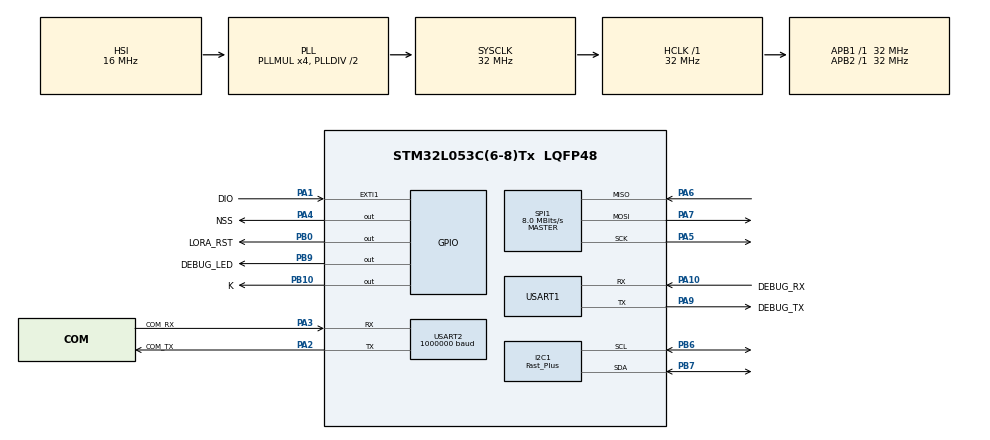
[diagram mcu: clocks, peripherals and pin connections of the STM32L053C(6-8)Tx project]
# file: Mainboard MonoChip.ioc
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I2C1.I2C_Speed_Mode=I2C_Fast_Plus
I2C1.Timing=0x00100413
Mcu.Family=STM32L0
Mcu.Name=STM32L053C(6-8)Tx
Mcu.Package=LQFP48
NVIC.EXTI0_1_IRQn=true\:0\:0\:false\:false\:true\:true\:true\:true
NVIC.USART1_IRQn=true\:0\:0\:false\:false\:true\:true\:true\:true
NVIC.USART2_IRQn=true\:0\:0\:false\:false\:true\:true\:true\:true
PA1.GPIO_Label=DIO
PA1.Signal=GPXTI1
PA10.GPIO_Label=DEBUG_RX
PA10.Mode=Asynchronous
PA10.Signal=USART1_RX
PA13.Mode=Serial_Wire
PA13.Signal=SYS_SWDIO
PA14.Mode=Serial_Wire
PA14.Signal=SYS_SWCLK
PA2.GPIO_Label=COM_TX
PA2.Mode=Asynchronous
PA2.Signal=USART2_TX
PA3.GPIO_Label=COM_RX
PA3.Mode=Asynchronous
PA3.Signal=USART2_RX
PA4.GPIO_Label=NSS
PA4.PinState=GPIO_PIN_SET
PA4.Signal=GPIO_Output
PA5.Mode=Full_Duplex_Master
PA5.Signal=SPI1_SCK
PA6.Mode=Full_Duplex_Master
PA6.Signal=SPI1_MISO
PA7.Mode=Full_Duplex_Master
PA7.Signal=SPI1_MOSI
PA9.GPIO_Label=DEBUG_TX
PA9.Mode=Asynchronous
PA9.Signal=USART1_TX
PB0.GPIO_Label=LORA_RST
PB0.PinState=GPIO_PIN_SET
PB0.Signal=GPIO_Output
PB10.GPIO_Label=K
PB10.Signal=GPIO_Output
PB6.Mode=I2C
PB6.Signal=I2C1_SCL
PB7.Mode=I2C
PB7.Signal=I2C1_SDA
PB9.GPIO_Label=DEBUG_LED
PB9.Signal=GPIO_Output
PH0-OSC_IN.Mode=HSE-External-Oscillator
PH0-OSC_IN.Signal=RCC_OSC_IN
PH1-OSC_OUT.Mode=HSE-External-Oscillator
PH1-OSC_OUT.Signal=RCC_OSC_OUT
ProjectManager.HeapSize=0x200
ProjectManager.StackSize=0x400
ProjectManager.TargetToolchain=STM32CubeIDE
RCC.AHBFreq_Value=32000000
RCC.APB1Freq_Value=32000000
RCC.APB1TimFreq_Value=32000000
RCC.APB2Freq_Value=32000000
RCC.APB2TimFreq_Value=32000000
RCC.HCLKFreq_Value=32000000
RCC.HSE_VALUE=25000000
RCC.HSI16_VALUE=16000000
RCC.HSI48_VALUE=48000000
RCC.HSI_VALUE=16000000
RCC.I2c1ClockSelection=RCC_I2C1CLKSOURCE_SYSCLK
RCC.LSE_VALUE=32768
RCC.MSI_VALUE=2097000
RCC.PLLMUL=RCC_PLLMUL_4
RCC.SYSCLKFreq_VALUE=32000000
RCC.SYSCLKSource=RCC_SYSCLKSOURCE_PLLCLK
RCC.Usart1ClockSelection=RCC_USART1CLKSOURCE_SYSCLK
RCC.Usart2ClockSelection=RCC_USART2CLKSOURCE_SYSCLK
RCC.VCOOutputFreq_Value=64000000
SPI1.BaudRatePrescaler=SPI_BAUDRATEPRESCALER_4
SPI1.CalculateBaudRate=8.0 MBits/s
SPI1.Direction=SPI_DIRECTION_2LINES
SPI1.Mode=SPI_MODE_MASTER
SPI1.VirtualType=VM_MASTER
USART1.VirtualMode-Asynchronous=VM_ASYNC
USART2.BaudRate=1000000
USART2.VirtualMode-Asynchronous=VM_ASYNC
VP_IWDG_VS_IWDG.Mode=IWDG_Activate
board=custom

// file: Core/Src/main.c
/* USER CODE BEGIN Header */
/**
 ******************************************************************************
 * @file           : main.c
 * @brief          : Main program body
 ******************************************************************************
 * @attention
 *
 * Copyright (c) 2024 STMicroelectronics.
 * All rights reserved.
 *
 * This software is licensed under terms that can be found in the LICENSE file
 * in the root directory of this software component.
 * If no LICENSE file comes with this software, it is provided AS-IS.
 *
 ******************************************************************************
 */
/* USER CODE END Header */
#include "main.h"

/* USER CODE BEGIN Includes */
#include "math.h"
#include "string.h"
#include "stdio.h"
#include <stdlib.h>
#include "LoRa.h"
#include "FRAM.h"
#include "BrasensFirmware.h"
#include <cJSON.h>
/* USER CODE END Includes */

/* USER CODE BEGIN PD */
typedef struct {
	float x;
	float y;
	float z;
} Vibration;

typedef struct {
	uint8_t rxBuffer[60];
	char type;
} LoRa_Data;

/* USER CODE END PD */

I2C_HandleTypeDef hi2c1;

IWDG_HandleTypeDef hiwdg;

SPI_HandleTypeDef hspi1;

UART_HandleTypeDef huart1;
UART_HandleTypeDef huart2;

void SystemClock_Config(void);
static void MX_GPIO_Init(void);
static void MX_I2C1_Init(void);
static void MX_SPI1_Init(void);
static void MX_USART1_UART_Init(void);
static void MX_USART2_UART_Init(void);
static void MX_IWDG_Init(void);
/* USER CODE BEGIN PFP */
#define COM_PRINT(msg) HAL_UART_Transmit(&huart2, (uint8_t*)msg, strlen(msg), 200)

void setup(void);
void loop(void);
void BlinkLed(void);
void sendReady(void);
void GSM_RX_Callback(void);
void GSM_TX_Callback(void);
void MSP_RX_Callback(void);
void MSP_TX_Callback(void);
void CHAR_NOT_FOUND_EXCEPTION(void);
void BEHAVIOR_Initialize_DataIndices(uint16_t size);
char BEHAVIOR_GET_Next_Send_Item(void);
void BEHAVIOR_ADD_Item_To_DataIndices(char item);
void BEHAVIOR_REMOVE_First_Item_From_DataIndices(void);
uint16_t BEHAVIOR_Send_Next_Struct_In_FRAM(char next);
void BEHAVIOR_Reorganize_FRAM(void);
cJSON* transmission_data_to_json(const Transmission_Data *data);
cJSON* transmission_vibrationpackage_to_json(
		const Transmission_VibrationPackage *vibrationPackage);
char* GSM_Send_HTTP_POST(char *json);
void GSM_PDP_Context_Activate(char *apn, char *user, char *pwd);
uint8_t GSM_Disconnect_TCP(void);

#define DEBUG_PRINT(msg) HAL_UART_Transmit(&huart1, (uint8_t*)(msg), strlen(msg), 100)

LoRa myLoRa;

#define LORA_DATA_BUFFER_SIZE 8
volatile LoRa_Data LoRa_Data_transient_buffer[LORA_DATA_BUFFER_SIZE];
uint8_t total_LoRa_Data_registred = 0;

uint8_t packet_size = 0;
uint8_t lora_recived_package = 0;

#define LORA_RING_SIZE 16 /* 16 x 61 B ~ 1 KB; cabe com folga apos remover o buffer NACK (M8) */
volatile LoRa_Data lora_ring[LORA_RING_SIZE];
volatile uint8_t lora_ring_head = 0; /* escrito APENAS pelo ISR  */
volatile uint8_t lora_ring_tail = 0; /* escrito APENAS pelo loop */

uint8_t rxBuffer[120];
Transmission_Data data;
Transmission_VibrationPackage vibrationPackage;
FRAM_Metadata metadata;

char apn[] = "timbrasil.br";
char user[] = "tim";
char pwd[] = "tim";

/* BEHAVIOR */
#define MAX_DATA_INDICES 300

char dataIndices[MAX_DATA_INDICES];
uint16_t dataIndicesSize = 0;
uint16_t reorganizeStartAddress = 0;
typedef enum {
	FREE_STATUS = 0, RECEIVING = 1
} MSPStatus;

uint8_t MSP_RX_Buffer[500];
uint8_t MSP_RX_Stream_Data = 0;
int MSP_Stream_Index = 0;
uint32_t lastMSPRxTick = 0;
MSPStatus mspStatus = FREE_STATUS;

const uint32_t MSP_TIMEOUT = 10 * 1000;
const uint32_t GSM_TIMEOUT = 15 * 1000;
const uint32_t LED_BLINK_DURATION_MS = 150;
const uint32_t SEND_ATTEMPT_INTERVAL_MS = 500;
const uint32_t READ_SERIAL_INTERVAL_MS = 20;
const uint32_t SEND_AT_INTERVAL_MS = 50;

volatile uint32_t last_read_serial_timestamp = 0;
volatile uint32_t last_send_at_timestamp = 0;

volatile int led_is_on = 0;
volatile uint32_t led_on_timestamp = 0;

uint32_t last_send_attempt_timestamp = 0;
/* BEHAVIOR */

/* GSM */
typedef enum {
	//STARTING
	FREE = 0,
	WAITING = 1,
	RX = 2,
	PROCESSING = 3,
} GSMStatus;

uint8_t GSM_RX_Buffer[500];
uint8_t GSM_RX_Stream_Data = 0;
int GSM_Stream_Index = 0;

uint32_t lastRxTick = 0;

GSMStatus gsmStatus = FREE;
/* GSM */

int started = 0;

const char server[] = "ec2-35-88-115-76.us-west-2.compute.amazonaws.com";
const uint16_t port = 8080;
const char resource[] = "/data/register";

/* USER CODE END PFP */

int main(void)
{

  /* MCU Configuration--------------------------------------------------------*/

  /* Reset of all peripherals, Initializes the Flash interface and the Systick. */
  HAL_Init();

  /* Configure the system clock */
  SystemClock_Config();

  /* Initialize all configured peripherals */
  MX_GPIO_Init();
  MX_I2C1_Init();
  MX_SPI1_Init();
  MX_USART1_UART_Init();
  MX_USART2_UART_Init();
  MX_IWDG_Init();
  /* USER CODE BEGIN 2 */
	setup();
  /* USER CODE END 2 */

  /* Infinite loop */
  /* USER CODE BEGIN WHILE */
	while (1) {
		loop();
    /* USER CODE END WHILE */

	}
}

void SystemClock_Config(void)
{
  RCC_OscInitTypeDef RCC_OscInitStruct = {0};
  RCC_ClkInitTypeDef RCC_ClkInitStruct = {0};
  RCC_PeriphCLKInitTypeDef PeriphClkInit = {0};

  /** Configure the main internal regulator output voltage
  */
  __HAL_PWR_VOLTAGESCALING_CONFIG(PWR_REGULATOR_VOLTAGE_SCALE1);

  /** Initializes the RCC Oscillators according to the specified parameters
  * in the RCC_OscInitTypeDef structure.
  */
  RCC_OscInitStruct.OscillatorType = RCC_OSCILLATORTYPE_HSI|RCC_OSCILLATORTYPE_LSI;
  RCC_OscInitStruct.HSIState = RCC_HSI_ON;
  RCC_OscInitStruct.HSICalibrationValue = RCC_HSICALIBRATION_DEFAULT;
  RCC_OscInitStruct.LSIState = RCC_LSI_ON;
  RCC_OscInitStruct.PLL.PLLState = RCC_PLL_ON;
  RCC_OscInitStruct.PLL.PLLSource = RCC_PLLSOURCE_HSI;
  RCC_OscInitStruct.PLL.PLLMUL = RCC_PLLMUL_4;
  RCC_OscInitStruct.PLL.PLLDIV = RCC_PLLDIV_2;
  if (HAL_RCC_OscConfig(&RCC_OscInitStruct) != HAL_OK)
  {
    Error_Handler();
  }

  /** Initializes the CPU, AHB and APB buses clocks
  */
  RCC_ClkInitStruct.ClockType = RCC_CLOCKTYPE_HCLK|RCC_CLOCKTYPE_SYSCLK
                              |RCC_CLOCKTYPE_PCLK1|RCC_CLOCKTYPE_PCLK2;
  RCC_ClkInitStruct.SYSCLKSource = RCC_SYSCLKSOURCE_PLLCLK;
  RCC_ClkInitStruct.AHBCLKDivider = RCC_SYSCLK_DIV1;
  RCC_ClkInitStruct.APB1CLKDivider = RCC_HCLK_DIV1;
  RCC_ClkInitStruct.APB2CLKDivider = RCC_HCLK_DIV1;

  if (HAL_RCC_ClockConfig(&RCC_ClkInitStruct, FLASH_LATENCY_1) != HAL_OK)
  {
    Error_Handler();
  }
  PeriphClkInit.PeriphClockSelection = RCC_PERIPHCLK_USART1|RCC_PERIPHCLK_USART2
                              |RCC_PERIPHCLK_I2C1;
  PeriphClkInit.Usart1ClockSelection = RCC_USART1CLKSOURCE_SYSCLK;
  PeriphClkInit.Usart2ClockSelection = RCC_USART2CLKSOURCE_SYSCLK;
  PeriphClkInit.I2c1ClockSelection = RCC_I2C1CLKSOURCE_SYSCLK;
  if (HAL_RCCEx_PeriphCLKConfig(&PeriphClkInit) != HAL_OK)
  {
    Error_Handler();
  }
}

static void MX_I2C1_Init(void)
{

  hi2c1.Instance = I2C1;
  hi2c1.Init.Timing = 0x00100413;
  hi2c1.Init.OwnAddress1 = 0;
  hi2c1.Init.AddressingMode = I2C_ADDRESSINGMODE_7BIT;
  hi2c1.Init.DualAddressMode = I2C_DUALADDRESS_DISABLE;
  hi2c1.Init.OwnAddress2 = 0;
  hi2c1.Init.OwnAddress2Masks = I2C_OA2_NOMASK;
  hi2c1.Init.GeneralCallMode = I2C_GENERALCALL_DISABLE;
  hi2c1.Init.NoStretchMode = I2C_NOSTRETCH_DISABLE;
  if (HAL_I2C_Init(&hi2c1) != HAL_OK)
  {
    Error_Handler();
  }

  /** Configure Analogue filter
  */
  if (HAL_I2CEx_ConfigAnalogFilter(&hi2c1, I2C_ANALOGFILTER_ENABLE) != HAL_OK)
  {
    Error_Handler();
  }

  /** Configure Digital filter
  */
  if (HAL_I2CEx_ConfigDigitalFilter(&hi2c1, 0) != HAL_OK)
  {
    Error_Handler();
  }

  /** I2C Fast mode Plus enable
  */
  HAL_I2CEx_EnableFastModePlus(I2C_FASTMODEPLUS_I2C1);

}

static void MX_IWDG_Init(void)
{

	  hiwdg.Instance = IWDG;
	  hiwdg.Init.Prescaler = IWDG_PRESCALER_256;
	  hiwdg.Init.Window = 4095;
	  hiwdg.Init.Reload = 4095;
  if (HAL_IWDG_Init(&hiwdg) != HAL_OK)
  {
    Error_Handler();
  }

}

static void MX_SPI1_Init(void)
{

  /* SPI1 parameter configuration*/
  hspi1.Instance = SPI1;
  hspi1.Init.Mode = SPI_MODE_MASTER;
  hspi1.Init.Direction = SPI_DIRECTION_2LINES;
  hspi1.Init.DataSize = SPI_DATASIZE_8BIT;
  hspi1.Init.CLKPolarity = SPI_POLARITY_LOW;
  hspi1.Init.CLKPhase = SPI_PHASE_1EDGE;
  hspi1.Init.NSS = SPI_NSS_SOFT;
  hspi1.Init.BaudRatePrescaler = SPI_BAUDRATEPRESCALER_4;
  hspi1.Init.FirstBit = SPI_FIRSTBIT_MSB;
  hspi1.Init.TIMode = SPI_TIMODE_DISABLE;
  hspi1.Init.CRCCalculation = SPI_CRCCALCULATION_DISABLE;
  hspi1.Init.CRCPolynomial = 7;
  if (HAL_SPI_Init(&hspi1) != HAL_OK)
  {
    Error_Handler();
  }

}

static void MX_USART1_UART_Init(void)
{

  huart1.Instance = USART1;
  huart1.Init.BaudRate = 115200;
  huart1.Init.WordLength = UART_WORDLENGTH_8B;
  huart1.Init.StopBits = UART_STOPBITS_1;
  huart1.Init.Parity = UART_PARITY_NONE;
  huart1.Init.Mode = UART_MODE_TX_RX;
  huart1.Init.HwFlowCtl = UART_HWCONTROL_NONE;
  huart1.Init.OverSampling = UART_OVERSAMPLING_16;
  huart1.Init.OneBitSampling = UART_ONE_BIT_SAMPLE_DISABLE;
  huart1.AdvancedInit.AdvFeatureInit = UART_ADVFEATURE_NO_INIT;
  if (HAL_UART_Init(&huart1) != HAL_OK)
  {
    Error_Handler();
  }

}

static void MX_USART2_UART_Init(void)
{

  huart2.Instance = USART2;
  huart2.Init.BaudRate = 1000000;
  huart2.Init.WordLength = UART_WORDLENGTH_8B;
  huart2.Init.StopBits = UART_STOPBITS_1;
  huart2.Init.Parity = UART_PARITY_NONE;
  huart2.Init.Mode = UART_MODE_TX_RX;
  huart2.Init.HwFlowCtl = UART_HWCONTROL_NONE;
  huart2.Init.OverSampling = UART_OVERSAMPLING_16;
  huart2.Init.OneBitSampling = UART_ONE_BIT_SAMPLE_DISABLE;
  huart2.AdvancedInit.AdvFeatureInit = UART_ADVFEATURE_NO_INIT;
  if (HAL_UART_Init(&huart2) != HAL_OK)
  {
    Error_Handler();
  }

}

static void MX_GPIO_Init(void)
{
  GPIO_InitTypeDef GPIO_InitStruct = {0};

  /* GPIO Ports Clock Enable */
  __HAL_RCC_GPIOH_CLK_ENABLE();
  __HAL_RCC_GPIOA_CLK_ENABLE();
  __HAL_RCC_GPIOB_CLK_ENABLE();

  /*Configure GPIO pin Output Level */
  HAL_GPIO_WritePin(NSS_GPIO_Port, NSS_Pin, GPIO_PIN_SET);

  /*Configure GPIO pin Output Level */
  HAL_GPIO_WritePin(LORA_RST_GPIO_Port, LORA_RST_Pin, GPIO_PIN_SET);

  /*Configure GPIO pin Output Level */
  HAL_GPIO_WritePin(GPIOB, K_Pin|DEBUG_LED_Pin, GPIO_PIN_RESET);

  /*Configure GPIO pin : DIO_Pin */
  GPIO_InitStruct.Pin = DIO_Pin;
  GPIO_InitStruct.Mode = GPIO_MODE_IT_RISING;
  GPIO_InitStruct.Pull = GPIO_NOPULL;
  HAL_GPIO_Init(DIO_GPIO_Port, &GPIO_InitStruct);

  /*Configure GPIO pin : NSS_Pin */
  GPIO_InitStruct.Pin = NSS_Pin;
  GPIO_InitStruct.Mode = GPIO_MODE_OUTPUT_PP;
  GPIO_InitStruct.Pull = GPIO_NOPULL;
  GPIO_InitStruct.Speed = GPIO_SPEED_FREQ_LOW;
  HAL_GPIO_Init(NSS_GPIO_Port, &GPIO_InitStruct);

  /*Configure GPIO pins : LORA_RST_Pin K_Pin DEBUG_LED_Pin */
  GPIO_InitStruct.Pin = LORA_RST_Pin|K_Pin|DEBUG_LED_Pin;
  GPIO_InitStruct.Mode = GPIO_MODE_OUTPUT_PP;
  GPIO_InitStruct.Pull = GPIO_NOPULL;
  GPIO_InitStruct.Speed = GPIO_SPEED_FREQ_LOW;
  HAL_GPIO_Init(GPIOB, &GPIO_InitStruct);

  /* EXTI interrupt init*/
  HAL_NVIC_SetPriority(EXTI0_1_IRQn, 0, 0);
  HAL_NVIC_EnableIRQ(EXTI0_1_IRQn);

}

/* USER CODE BEGIN 4 */

void I2C_Scan() {
	char msg[64];
	HAL_StatusTypeDef result;
	uint8_t i;

	DEBUG_PRINT("Scanning I2C bus:\r\n");

	for (i = 1; i < 128; i++) {

		result = HAL_I2C_IsDeviceReady(&hi2c1, (uint16_t) (i << 1), 1, 10);
		if (result == HAL_OK) {
			snprintf(msg, sizeof(msg), "Device found at 0x%02X\r\n", i);
			DEBUG_PRINT(msg);
		} else {

		}
	}
	DEBUG_PRINT("I2C scan completed.\r\n");
}

void INIT_GSM_K() {
	HAL_GPIO_WritePin(K_GPIO_Port, K_Pin, GPIO_PIN_RESET);
	HAL_Delay(100);
	HAL_GPIO_WritePin(K_GPIO_Port, K_Pin, GPIO_PIN_SET);
	HAL_Delay(1000);
	HAL_GPIO_WritePin(K_GPIO_Port, K_Pin, GPIO_PIN_RESET);
}

void setup() {
	DEBUG_PRINT("Starting...\r\n");

	// SX1276 compatible module connected to SPI1, NSS pin connected to GPIO with label LORA_NSS
	myLoRa = newLoRa();

	myLoRa.CS_port = NSS_GPIO_Port;
	myLoRa.CS_pin = NSS_Pin;
	myLoRa.reset_port = LORA_RST_GPIO_Port;
	myLoRa.reset_pin = LORA_RST_Pin;
	myLoRa.DIO0_port = DIO_GPIO_Port;
	myLoRa.DIO0_pin = DIO_Pin;
	myLoRa.hSPIx = &hspi1;

	myLoRa.frequency = 915;
	myLoRa.spredingFactor = SF_7;
	myLoRa.bandWidth = BW_125KHz;
	myLoRa.crcRate = CR_4_5;
	myLoRa.power = POWER_20db;
	myLoRa.overCurrentProtection = 100;
	myLoRa.preamble = 8;

	if (LoRa_init(&myLoRa) == LORA_OK) {
		DEBUG_PRINT("LoRa Ready\r\n");
	} else
		DEBUG_PRINT("Error in LoRa connection\r\n");

	if (FRAM_Init(&hi2c1) != HAL_ERROR)
		DEBUG_PRINT("FRAM Ready\r\n");
	else
		DEBUG_PRINT("Error in FRAM connection\r\n");

	LoRa_startReceiving(&myLoRa);

	FRAM_Format(&hi2c1, &metadata);

	HAL_GPIO_WritePin(DEBUG_LED_GPIO_Port, DEBUG_LED_Pin, GPIO_PIN_SET);
	I2C_Scan();

	INIT_GSM_K();

	BEHAVIOR_Initialize_DataIndices(0);

	//sendAT("AT+CRESET\r\n", "OK");
	//sendAT("AT+HTTPTERM\r\n", "OK");
	HAL_Delay(2000);

	//sendAT("AT+CMEE=2\r\n", "OK");
	GSM_PDP_Context_Activate(apn, user, pwd);

	HAL_Delay(2000);
	HAL_GPIO_WritePin(DEBUG_LED_GPIO_Port, DEBUG_LED_Pin, GPIO_PIN_RESET);

	started = 1;
	DEBUG_PRINT("Started!\r\n");
}

void send_NACK(char *sensor_key) {

}

void format_LoRa_Data_buffer() {
	total_LoRa_Data_registred = 0;
	DEBUG_PRINT("Buffer de data formatado.\r\n");
}

void buffer_add_sample(LoRa_Data new_sample) {
	if (total_LoRa_Data_registred >= LORA_DATA_BUFFER_SIZE) {
		DEBUG_PRINT("ERRO: Buffer de vibração cheio!\r\n");
		return;
	}

	LoRa_Data_transient_buffer[total_LoRa_Data_registred] = new_sample;

	total_LoRa_Data_registred++;
}

void buffer_remove_sample(LoRa_Data *sample_out) {
	if (total_LoRa_Data_registred == 0) {
		return;
	}

	*sample_out = LoRa_Data_transient_buffer[0];

	total_LoRa_Data_registred--;

	if (total_LoRa_Data_registred > 0) {
		memmove((void*) &LoRa_Data_transient_buffer[0],
				(void*) &LoRa_Data_transient_buffer[1],
				total_LoRa_Data_registred * sizeof(LoRa_Data));
	}
}

uint8_t check_range_value(int value) {
	if (value > SAMPLES || value < 0)
		return 0;
	return 1;
}

void processing_data_in_FRAM(LoRa_Data lora_data) {
	if (lora_data.type == 'P') {
		Transmission_VibrationPackage receivedPackage;
		memcpy(&receivedPackage, lora_data.rxBuffer,
				sizeof(Transmission_VibrationPackage));

		char buffer[50];
		snprintf(buffer, sizeof(buffer), "Start: %d End: %d \r\n",
				receivedPackage.start, receivedPackage.end);
		DEBUG_PRINT(buffer);

		if (check_range_value(receivedPackage.start) == 1
				&& check_range_value(receivedPackage.end) == 1) {
			if (FRAM_WriteStruct(&hi2c1, &metadata, metadata.nextFreeAddress,
					&receivedPackage, sizeof(Transmission_VibrationPackage))
					== HAL_OK) {
				DEBUG_PRINT("\r\n");
				DEBUG_PRINT("VP Saved in FRAM\r\n");
				BEHAVIOR_ADD_Item_To_DataIndices('P');
			}
		} else {
			DEBUG_PRINT("\r\n");
			DEBUG_PRINT("Error in VP\r\n");
		}
	} else {
		Transmission_Data receivedData;
		memcpy(&receivedData, lora_data.rxBuffer, sizeof(Transmission_Data));
		if (FRAM_WriteStruct(&hi2c1, &metadata, metadata.nextFreeAddress,
				&receivedData, sizeof(Transmission_Data)) == HAL_OK) {
			DEBUG_PRINT("Data Saved in FRAM\r\n");
			BEHAVIOR_ADD_Item_To_DataIndices('D');
		}
	}
}

uint8_t nextScript = 0;
uint16_t resetCounter = 0;
void loop() {
	//char *vibrationJSON = generateTransmissionVibrationPackageJSON(
	//		&vibrationPackage);
	//GSM_Send_HTTP_POST(vibrationJSON);

	//READ_MSP_Serial_Commands();

	HAL_IWDG_Refresh(&hiwdg);

	if (led_is_on == 1) {
		if (HAL_GetTick() - led_on_timestamp >= LED_BLINK_DURATION_MS) {
			HAL_GPIO_WritePin(DEBUG_LED_GPIO_Port, DEBUG_LED_Pin,
					GPIO_PIN_RESET);
			led_is_on = 0;
		}
	}

	while (lora_ring_tail != lora_ring_head) {
			LoRa_Data lora_data;
			memcpy(&lora_data, (const void*) &lora_ring[lora_ring_tail], sizeof(LoRa_Data));
			lora_ring_tail = (uint8_t) ((lora_ring_tail + 1) % LORA_RING_SIZE);

			BlinkLed();
			processing_data_in_FRAM(lora_data); /* versao do PATCH M3 (le de lora_data.rxBuffer) */
		}

	if (total_LoRa_Data_registred > 0) {
			LoRa_Data lora_data;
			buffer_remove_sample(&lora_data);
			processing_data_in_FRAM(lora_data);
		}

	//GSM Chip Mainboard
	if (HAL_GetTick() - last_send_attempt_timestamp
			>= SEND_ATTEMPT_INTERVAL_MS) {

		last_send_attempt_timestamp = HAL_GetTick();

		if (dataIndicesSize > 0 && gsmStatus == FREE) {
			nextScript = 0;
			resetCounter = 0;
			reorganizeStartAddress = BEHAVIOR_Send_Next_Struct_In_FRAM(
					BEHAVIOR_GET_Next_Send_Item());
			if (nextScript) {
				BEHAVIOR_REMOVE_First_Item_From_DataIndices();
				BEHAVIOR_Reorganize_FRAM();
			}
		} else {
			if (resetCounter >= 400) {
				//NVIC_SystemReset();
			}
			//resetCounter++;
		}
	}
}

/* HANDLE BEHAVIOR */

void BEHAVIOR_Initialize_DataIndices(uint16_t size) {
	dataIndicesSize = (size <= MAX_DATA_INDICES) ? size : MAX_DATA_INDICES;
	memset(dataIndices, 0, dataIndicesSize);
}

char BEHAVIOR_GET_Next_Send_Item() {
	if (dataIndicesSize > 0) {
		return dataIndices[0];
	}
	return '\0';
}

void BEHAVIOR_ADD_Item_To_DataIndices(char item) {
	if (dataIndicesSize < MAX_DATA_INDICES) {
		dataIndices[dataIndicesSize] = item;
		dataIndicesSize++;
	} else {
		DEBUG_PRINT("Buffer overflow: cannot add more items\r\n");
	}
}

void BEHAVIOR_REMOVE_First_Item_From_DataIndices() {
	if (dataIndicesSize > 0) {
		memmove(dataIndices, dataIndices + 1,
				(dataIndicesSize - 1) * sizeof(char));
		dataIndicesSize--;
	}
}

char jsonDataBuffer[220];
char jsonVPBuffer[180];
uint16_t BEHAVIOR_Send_Next_Struct_In_FRAM(char next) {
	uint16_t address = 0;

	if (next == 'D') {
		DEBUG_PRINT("Data\r\n");
		Transmission_Data data = defaultTransmissionData();
		if (FRAM_ReadStruct(&hi2c1, 0, &data, sizeof(Transmission_Data))
				== HAL_OK) {
			address = sizeof(Transmission_Data);

			cJSON *data_json = transmission_data_to_json(&data);

			if (cJSON_PrintPreallocated(data_json, jsonDataBuffer, 220, 0)) {
				GSM_Send_HTTP_POST(jsonDataBuffer);
			} else {
				DEBUG_PRINT("JSON Buffer Overflow\r\n");
			}

			cJSON_Delete(data_json);
			nextScript = 1;
		} else {
			DEBUG_PRINT("MEM EXCEPTION D\r\n");
		}
	} else if (next == 'P') {
		DEBUG_PRINT("Vp\r\n");
		Transmission_VibrationPackage vibrationPackage =
				defaultTransmissionVibrationPackage();
		if (FRAM_ReadStruct(&hi2c1, 0, &vibrationPackage,
				sizeof(Transmission_VibrationPackage)) == HAL_OK) {
			DEBUG_PRINT("Vp Read\r\n");
			address = sizeof(Transmission_VibrationPackage);

			cJSON *vib_data_json = transmission_vibrationpackage_to_json(
					&vibrationPackage);

			if (cJSON_PrintPreallocated(vib_data_json, jsonVPBuffer, 180, 0)) {
				GSM_Send_HTTP_POST(jsonVPBuffer);
			} else {
				DEBUG_PRINT("JSON Buffer Overflow\r\n");
			}

			cJSON_Delete(vib_data_json);
			nextScript = 1;
		} else {
			DEBUG_PRINT("MEM EXCEPTION VP\r\n");
		}
	} else {
		DEBUG_PRINT("CHAR_NOT_FOUND_EXCEPTION\r\n");
		CHAR_NOT_FOUND_EXCEPTION();
	}

	return address;
}

uint16_t BEHAVIOR_Calculate_FRAM_Address() {
	uint16_t nextAddress = 0;

	for (int i = 0; i < dataIndicesSize; i++) {
		if (dataIndices[i] == 'D') {
			nextAddress += sizeof(Transmission_Data);
		} else if (dataIndices[i] == 'P') {
			nextAddress += sizeof(Transmission_VibrationPackage);
		} else {
			CHAR_NOT_FOUND_EXCEPTION();
		}
	}

	return nextAddress;
}

void BEHAVIOR_Reorganize_FRAM() {
	uint16_t nextAddress = reorganizeStartAddress;
	uint16_t oldAddress = 0;

	if (dataIndicesSize > 0) {
		for (int i = 0; i < dataIndicesSize; i++) {
			if (dataIndices[i] == 'D') {
				Transmission_Data data;
				FRAM_ReadStruct(&hi2c1, nextAddress, &data,
						sizeof(Transmission_Data));
				FRAM_WriteStruct(&hi2c1, &metadata, oldAddress, &data,
						sizeof(Transmission_Data));

				nextAddress += sizeof(Transmission_Data);
				oldAddress += sizeof(Transmission_Data);
			} else if (dataIndices[i] == 'P') {
				Transmission_VibrationPackage vibrationPackage;
				FRAM_ReadStruct(&hi2c1, nextAddress, &vibrationPackage,
						sizeof(Transmission_VibrationPackage));
				FRAM_WriteStruct(&hi2c1, &metadata, oldAddress,
						&vibrationPackage,
						sizeof(Transmission_VibrationPackage));

				nextAddress += sizeof(Transmission_VibrationPackage);
				oldAddress += sizeof(Transmission_VibrationPackage);
			} else {
				CHAR_NOT_FOUND_EXCEPTION();
			}
		}
	} else
		FRAM_Format(&hi2c1, &metadata);
}

void CHAR_NOT_FOUND_EXCEPTION() {
	DEBUG_PRINT("Char not found\r\n");
	BEHAVIOR_REMOVE_First_Item_From_DataIndices();
}

//Mainboard Serial Protocol
void MSP_RX_Callback() {
	if (MSP_Stream_Index < (int) sizeof(MSP_RX_Buffer) - 1)
		MSP_RX_Buffer[MSP_Stream_Index++] = MSP_RX_Stream_Data;
	lastMSPRxTick = HAL_GetTick();
	mspStatus = RECEIVING;
	HAL_UART_Receive_IT(&huart1, &MSP_RX_Stream_Data, 1);
}

void MSP_TX_Callback() {

}

void resetMSPBuffers() {
	MSP_RX_Stream_Data = 0;
	MSP_Stream_Index = 0;
	memset(MSP_RX_Buffer, 0, sizeof(MSP_RX_Buffer));
}

void READ_MSP_Serial_Commands() {
	if (mspStatus == FREE_STATUS)
		resetMSPBuffers();

	HAL_UART_Receive_IT(&huart1, &MSP_RX_Stream_Data, 1);

	if (mspStatus == RECEIVING) {
		uint32_t previousTick = HAL_GetTick();
		while (previousTick + MSP_TIMEOUT > HAL_GetTick()) {

			if (HAL_GetTick() - last_read_serial_timestamp
					>= READ_SERIAL_INTERVAL_MS) {
				last_read_serial_timestamp = HAL_GetTick();

				if (strstr((char*) MSP_RX_Buffer, "OK")) {

					BEHAVIOR_REMOVE_First_Item_From_DataIndices();
					BEHAVIOR_Reorganize_FRAM();

					if (dataIndicesSize > 0)
						sendReady();
					break;
				} else if (strstr((char*) MSP_RX_Buffer, "NX")) {
					reorganizeStartAddress = BEHAVIOR_Send_Next_Struct_In_FRAM(
							BEHAVIOR_GET_Next_Send_Item());
					break;
				} else if (strstr((char*) MSP_RX_Buffer, "RD")) {
					sendReady();
					break;
				}

			}
		}
		mspStatus = FREE_STATUS;
	}
}

void sendReady() {
	char *cmd = "RD";
	uint8_t commandBuffer[20] = { 0 };
	memcpy(commandBuffer, (uint8_t*) cmd, strlen(cmd) + 1);
	HAL_UART_Transmit_IT(&huart1, commandBuffer, sizeof(commandBuffer));
}

/* HANDLE BEHAVIOR */

/* HANDLE JSON */

char* float_to_two_char_string(float value) {
	static char buffer[10];
	snprintf(buffer, sizeof(buffer), "%.3f", value);
	return buffer;
}

cJSON* transmission_data_to_json(const Transmission_Data *data) {
	cJSON *json = cJSON_CreateObject();
	char temp_float_buffer_rms_accel[10];
	char temp_float_buffer_rms_vel[10];

	if (json != NULL) {
		cJSON_AddStringToObject(json, "type", "D");
		cJSON_AddStringToObject(json, "key", data->key);

		cJSON *rms_accel = cJSON_CreateArray();
		for (int i = 0; i < 3; i++) {
			snprintf(temp_float_buffer_rms_accel,
					sizeof(temp_float_buffer_rms_accel), "%.4f",
					data->rms_accel[i]);
			cJSON_AddItemToArray(rms_accel,
					cJSON_CreateString(temp_float_buffer_rms_accel));
		}
		cJSON_AddItemToObject(json, "rms_accel", rms_accel);

		cJSON *rms_vel = cJSON_CreateArray();
		for (int i = 0; i < 3; i++) {
			snprintf(temp_float_buffer_rms_vel,
					sizeof(temp_float_buffer_rms_vel), "%.4f",
					data->rms_vel[i]);
			cJSON_AddItemToArray(rms_vel,
					cJSON_CreateString(temp_float_buffer_rms_vel));
		}
		cJSON_AddItemToObject(json, "rms_vel", rms_vel);

		cJSON_AddNumberToObject(json, "temperature", data->temperature);
		cJSON_AddNumberToObject(json, "battery", data->battery);
	}

	return json;
}

cJSON* transmission_vibrationpackage_to_json(
		const Transmission_VibrationPackage *data) {
	cJSON *json = cJSON_CreateObject();

	if (json != NULL) {
		cJSON_AddStringToObject(json, "type", "P");
		cJSON_AddStringToObject(json, "key", data->key);
		cJSON_AddNumberToObject(json, "axis", data->axis);

		cJSON *dataPackage = cJSON_CreateArray();
		for (int i = 0; i < TRANSMISSION_DATA_PACKAGE; i++) {
			cJSON_AddItemToArray(dataPackage,
					cJSON_CreateString(
							float_to_two_char_string(data->dataPackage[i])));
		}
		cJSON_AddItemToObject(json, "dataPackage", dataPackage);

		cJSON_AddNumberToObject(json, "start", data->start);
		cJSON_AddNumberToObject(json, "end", data->end);
	}

	return json;
}

char* generateTransmissionDataJSON(Transmission_Data *data) {
	char *json = (char*) malloc(256 * sizeof(char));

	snprintf(json, 256,
			"{\"type\":\"%s\",\"key\":\"%s\",\"rmsAccel\":[%.3f,%.3f,%.3f],\"rmsVel\":[%.3f,%.3f,%.3f],\"temperature\":%.3f,\"battery\":%.3f}",
			data->type, data->key, data->rms_accel[0], data->rms_accel[1],
			data->rms_accel[2], data->rms_vel[0], data->rms_vel[1],
			data->rms_vel[2], data->temperature, data->battery);

	return json;
}
/* HANDLE JSON */

/* HANDLE GSM */

void HAL_UART_RxCpltCallback(UART_HandleTypeDef *huart) {
	if (huart->Instance == huart1.Instance) {
		MSP_RX_Callback();
	}
	if (huart->Instance == huart2.Instance) {
		GSM_RX_Callback();
	}
}

uint32_t sendTick = 0;
void HAL_UART_TxCpltCallback(UART_HandleTypeDef *huart) {
	if (huart->Instance == huart1.Instance) {
		MSP_TX_Callback();
	}
	if (huart->Instance == huart2.Instance) {
		GSM_TX_Callback();
	}
}

void GSM_RX_Callback() {
	if (GSM_Stream_Index < (int) sizeof(GSM_RX_Buffer) - 1)
		GSM_RX_Buffer[GSM_Stream_Index++] = GSM_RX_Stream_Data;
	lastRxTick = HAL_GetTick();
	gsmStatus = RX;
	HAL_UART_Receive_IT(&huart2, &GSM_RX_Stream_Data, 1);
}

void GSM_TX_Callback() {
	if (gsmStatus == FREE) {
		gsmStatus = WAITING;
		sendTick = HAL_GetTick();
	}
}

void resetBuffers() {
	GSM_RX_Stream_Data = 0;
	GSM_Stream_Index = 0;
	memset(GSM_RX_Buffer, 0, sizeof(GSM_RX_Buffer));
}

uint8_t sendAT(char command[], char answer[]) {
	uint8_t ATisOK = 0;
	sendTick = HAL_GetTick();

	resetBuffers();

	HAL_UART_Receive_IT(&huart2, &GSM_RX_Stream_Data, 1);

	uint8_t commandBuffer[200] = { 0 };
	memcpy(commandBuffer, (uint8_t*) command, strlen(command) + 1);

	DEBUG_PRINT("Sending AT Command: \r\n");
	DEBUG_PRINT(command);

	uint32_t previousTick = HAL_GetTick();
	while (!ATisOK && previousTick + GSM_TIMEOUT > HAL_GetTick()) {
		HAL_IWDG_Refresh(&hiwdg);

		if (HAL_GetTick() - last_send_at_timestamp >= SEND_AT_INTERVAL_MS) {
			last_send_at_timestamp = HAL_GetTick();

			if (gsmStatus == FREE) {
				HAL_UART_Transmit_IT(&huart2, commandBuffer,
						sizeof(commandBuffer));
			}

			if (gsmStatus >= WAITING) {
				if (gsmStatus == RX) {
					if (strstr((char*) GSM_RX_Buffer, answer)) {
						ATisOK = 1;
					}
				}
			}

		}
		//HAL_Delay(50);
	}

	gsmStatus = FREE;

	if (!ATisOK) {
		DEBUG_PRINT((char*) GSM_RX_Buffer);
		DEBUG_PRINT("CMD Timeout...\r\n");
	}
	return ATisOK;
}

uint8_t sendATWithTimeOut(char command[], char answer[], uint32_t timeout_ms) {
	uint8_t ATisOK = 0;
	sendTick = HAL_GetTick();

	resetBuffers();

	HAL_UART_Receive_IT(&huart2, &GSM_RX_Stream_Data, 1);

	uint8_t commandBuffer[200] = { 0 };
	memcpy(commandBuffer, (uint8_t*) command, strlen(command) + 1);

	DEBUG_PRINT("Sending AT Command: \r\n");
	DEBUG_PRINT(command);

	uint32_t previousTick = HAL_GetTick();
	while (!ATisOK && previousTick + timeout_ms > HAL_GetTick()) {
		HAL_IWDG_Refresh(&hiwdg);

		if (HAL_GetTick() - last_send_at_timestamp >= SEND_AT_INTERVAL_MS) {
			last_send_at_timestamp = HAL_GetTick();

			if (gsmStatus == FREE) {
				HAL_UART_Transmit_IT(&huart2, commandBuffer,
						sizeof(commandBuffer));
			}

			if (gsmStatus >= WAITING) {
				if (gsmStatus == RX) {
					if (strstr((char*) GSM_RX_Buffer, answer) != NULL) {
						ATisOK = 1;
						break;
					}
					if (strstr((char*) GSM_RX_Buffer, "ERROR") != NULL) {
						ATisOK = 0;
						break;
					}
				}
			}

		}
		//HAL_Delay(50);
	}

	gsmStatus = FREE;

	if (!ATisOK) {
		DEBUG_PRINT((char*) GSM_RX_Buffer);
		DEBUG_PRINT("CMD Timeout...\r\n");
	}
	return ATisOK;
}

void directTransmit(char *cmd) {
	resetBuffers();
	HAL_UART_Transmit(&huart2, (uint8_t*) cmd, strlen(cmd), 1000);
	HAL_UART_Receive(&huart2, GSM_RX_Buffer, sizeof(GSM_RX_Buffer), 1000);

	gsmStatus = FREE;
}

uint8_t GSM_Setup_PDP_Context(char *apn, char *user, char *pwd) {
	char command[200];

	snprintf(command, sizeof(command), "AT+CGAUTH=1,1,\"%s\",\"%s\"\r\n", user,
			pwd);
	sendAT(command, "OK");
	memset(command, 0, sizeof(command));

	snprintf(command, sizeof(command), "AT+CGDCONT=1,\"IP\",\"%s\"\r\n", apn);

	if (sendAT(command, "OK")) {
		DEBUG_PRINT("CGDCONT is OK\r\n");
		return 1;

	}
	memset(command, 0, sizeof(command));

	return 0;
}

uint8_t isGprsConnected() {
	if (!sendAT("AT+NETOPEN?\r\n", "+NETOPEN: 1")) {
		return 0;
	}

	HAL_Delay(100);

	if (!sendAT("AT+IPADDR\r\n", "OK")) {
		return 0;
	}

	// Alternatively, use this command to show PDP address
	// if (!sendAT("AT+CGPADDR=1\r\n", "OK")) {
	//    return false;
	// }

	return 1;
}

void GSM_PDP_Context_Activate(char *apn, char *user, char *pwd) {
	uint8_t ATisOK = 0;
	uint8_t CGREGisOK = 0;
	uint8_t CGDCONTisOK = 0;
	uint8_t CGACTisOK = 0;

	if (sendAT("AT\r\n", "OK")) {
		ATisOK = 1;
		DEBUG_PRINT("AT is OK\r\n");
	}

	if (ATisOK) {

		GSM_Disconnect_TCP();

		sendAT("AT+CPIN?\r\n", "OK");
		DEBUG_PRINT((char*) GSM_RX_Buffer);

		sendAT("AT+CSQ\r\n", "OK");
		DEBUG_PRINT((char*) GSM_RX_Buffer);

		if (sendAT("AT+CGREG?\r\n", "+CGREG: 0,1")) {
			CGREGisOK = 1;
			DEBUG_PRINT("CGREG is OK\r\n");
		}
	}

	sendAT("AT+CPSI?\r\n", "OK");
	DEBUG_PRINT((char*) GSM_RX_Buffer);

	if (ATisOK && CGREGisOK) {
		CGDCONTisOK = GSM_Setup_PDP_Context(apn, user, pwd);
	}

	if (ATisOK && CGREGisOK && CGDCONTisOK) {
		directTransmit("AT+CGATT=1\r\n");
		directTransmit("AT+CGACT=1,1\r\n");

		if (sendAT("AT+CGACT=?\r\n", "OK")) {
			CGACTisOK = 1;
			DEBUG_PRINT("CGACT is OK\r\n");
		}
		sendAT("AT+CGACT=?\r\n", "OK");
		DEBUG_PRINT((char*) GSM_RX_Buffer);
	}
}

uint8_t GSM_Connect_TCP(char *apn, char *user, char *pwd) {
	GSM_Disconnect_TCP();

	if (!GSM_Setup_PDP_Context(apn, user, pwd))
		return 0;

	if (!sendAT("AT+CIPMODE=0\r\n", "OK"))
		return 0;

	if (!sendAT("AT+CIPSENDMODE=0\r\n", "OK"))
		return 0;

	if (!sendAT("AT+CIPCCFG=10,0,0,0,1,0,75000\r\n", "OK"))
		return 0;

	if (!sendAT("AT+CIPTIMEOUT=75000,15000,15000\r\n", "OK"))
		return 0;

	if (!sendAT("AT+NETOPEN\r\n", "+NETOPEN: 0"))
		return 0;

	return 1;
}

uint8_t GSM_Disconnect_TCP() {
	if (!sendAT("AT+NETCLOSE\r\n", "+NETCLOSE: 0")) {
		return 0;
	}

	return 1;
}

uint8_t GSM_Modem_Connect(char *host, uint16_t port) {
	if (!sendAT("AT+CIPRXGET=1\r\n", "OK")) {
		return 0;
	}

	// Estabelecer uma conexão em modo multi-socket
	char cmd[128];
	snprintf(cmd, sizeof(cmd), "AT+CIPOPEN=1,\"TCP\",\"%s\",%d\r\n", host,
			port);
	if (sendAT(cmd, "OK")) {
		DEBUG_PRINT("CIPOPEN!...");
		return 1;
	}

	return 0;
}

// Função para enviar dados via modem
uint8_t GSM_Modem_Send(char *buff) {
	char cmd[64];
	snprintf(cmd, sizeof(cmd), "AT+CIPSEND=1,%d\r\n", (uint16_t) strlen(buff));
	directTransmit(cmd);
	directTransmit(buff);

	DEBUG_PRINT((char*) GSM_RX_Buffer);

	uint32_t sendTick = HAL_GetTick();
	while (sendTick + GSM_TIMEOUT > HAL_GetTick()) {
		if (strstr((char*) GSM_RX_Buffer, "OK")) {
			DEBUG_PRINT("OK\r\n");
			return 1;
		}
	}
	return 0;
}

// Função para ler dados do modem
char* GSM_Modem_Read(size_t size) {
	char *readReturn = malloc(size);

	char cmd[64];
	snprintf(cmd, sizeof(cmd), "AT+CIPRXGET=2,1,%d\r\n", (uint16_t) size);
	if (!sendAT(cmd, "OK")) {
		return 0;
	}

	strcpy(readReturn, (char*) GSM_RX_Buffer);
	return readReturn;
}

// Função para obter a quantidade de dados disponíveis no modem
size_t GMS_GET_MODEM_AVAILABLE_SIZE() {
	char cmd[64];
	snprintf(cmd, sizeof(cmd), "AT+CIPRXGET=4,1\r\n");

	size_t result = 0;

	if (sendAT(cmd, "OK")) {
		//result = stream_get_int_before('\n');
	}

	return result;
}

// Função para verificar se o modem está conectado
uint8_t isModemConnected() {
	if (sendAT("AT+CIPCLOSE?\r\n", "OK"))
		return 1;
	return 0;
}

// Função para realizar POST request
uint8_t GSM_Modem_HTTP_Post(char *host, uint16_t port, char *path,
		char *json_data) {
	if (!GSM_Modem_Connect(host, port)) {
		return 0;
	}

	char header[256];
	snprintf(header, sizeof(header), "POST %s HTTP/1.1\r\n"
			"Host: %s:%d\r\n"
			"Content-Type: application/json\r\n"
			"Content-Length: %d\r\n\r\n", path, host, port, strlen(json_data));

	if (GSM_Modem_Send(header) == 0) {
		return 0;
	}

	if (GSM_Modem_Send(json_data) == 0) {
		return 0;
	}

	size_t response_size = GMS_GET_MODEM_AVAILABLE_SIZE();
	if (response_size > 0) {
		char response[response_size + 1];
		GSM_Modem_Read(response_size);
		response[response_size] = '\0';
	}

	return 1;
}

// Função para enviar dados via modem
uint8_t GSM_HTTP_Send(char *buff) {
	char command[200];
	sprintf(command, "AT+HTTPDATA=%d,1000\r\n", strlen(buff));

	DEBUG_PRINT(command);

	//directTransmit(command);
	sendAT(command, "\r\n");
	//directTransmit(buff);
	sendAT(buff, "\r\n");

	//uint32_t previousTick = HAL_GetTick();
	//while (previousTick + timeOut > HAL_GetTick()) {
	//if (strstr((char*) GSM_RX_Buffer, "OK")) {
	//return 1;
	//}
	//}
	return 0;
}

char* GSM_Send_HTTP_GET() {
	static char read[100];
	uint8_t httpINITisOK = 0;

	if (sendAT("AT+HTTPINIT\r\n", "OK")) {
		httpINITisOK = 1;
		DEBUG_PRINT("HTTP Init!\r\n");
	}

	if (httpINITisOK) {
		sendAT(
				"AT+HTTPPARA=\"URL\",\"http://ec2-35-88-115-76.us-west-2.compute.amazonaws.com:8080/data/test\"\r\n",
				"OK");
		sendAT("AT+HTTPACTION=0\r\n", "OK");

		sendAT("AT+HTTPHEAD\r\n", "OK");

		sendAT("AT+HTTPREAD\r\n", "OK");
		DEBUG_PRINT((char*) GSM_RX_Buffer);

		strncpy(read, (char*) GSM_RX_Buffer, sizeof(read) - 1);
		read[sizeof(read) - 1] = '\0';

		sendAT("AT+HTTPTERM\r\n", "OK");
	}

	return read;
}
/*
char* GSM_Send_HTTP_POST(char *json) {
	uint8_t httpINITisOK = 0;

    sendAT("AT\r\n", "OK");
    sendAT("ATI\r\n", "OK");
    sendAT("AT+CSQ\r\n", "OK");
    sendAT("AT+CPSI?\r\n", "OK");

    if (!sendATWithTimeOut("AT+CGATT?\r\n", "+CGATT: 1", 5000)) {
        DEBUG_PRINT("Not attached to PS domain!\r\n");
    }

    sendAT("AT+CGDCONT=1,\"IP\",\"timbrasil.br\"\r\n", "OK");
    sendAT("AT+CGAUTH=1,1,\"tim\",\"tim\"\r\n", "OK");

    if (!sendATWithTimeOut("AT+CGACT=1,1\r\n", "OK", 60000)) {
        DEBUG_PRINT("CGACT failed or timed out\r\n");
    }

    if (sendATWithTimeOut("AT+CGPADDR=1\r\n", "+CGPADDR:", 5000)) {
        DEBUG_PRINT("IP assigned!\r\n");
    } else {
        DEBUG_PRINT("No IP assigned yet.\r\n");
    }

    sendAT("AT+CMEE=2\r\n", "OK");

    sendATWithTimeOut("AT+HTTPTERM\r\n", "OK", 120000);
    sendATWithTimeOut("AT+NETOPEN?\r\n", "+NETOPEN:", 5000);
    sendATWithTimeOut("AT+NETCLOSE\r\n", "OK", 60000);
    sendATWithTimeOut("AT+CGATT?\r\n", "+CGATT: 1", 5000);
    sendATWithTimeOut("AT+CGACT?\r\n", "+CGACT:", 5000);
    sendATWithTimeOut("AT+CGPADDR=1\r\n", "+CGPADDR:", 5000);

    if (sendATWithTimeOut("AT+HTTPINIT\r\n", "OK", 120000)) {
        DEBUG_PRINT("HTTPINIT OK\r\n");
    } else {
        DEBUG_PRINT("HTTPINIT FAILED — conteúdo do buffer abaixo:\r\n");
        DEBUG_PRINT((char*)GSM_RX_Buffer);
    }

	DEBUG_PRINT("\r\n");
	if (httpINITisOK) {
		DEBUG_PRINT(json);
		// Define o URL para o POST
		sendAT(
				"AT+HTTPPARA=\"URL\",\"http://ec2-35-88-115-76.us-west-2.compute.amazonaws.com:8080/data/register\"\r\n",
				"OK");

		// Define o tipo de conteúdo como JSON
		sendAT("AT+HTTPPARA=\"CONTENT\",\"application/json\"\r\n", "OK");

		HAL_Delay(50);

		// Envia o conteúdo JSON
		GSM_HTTP_Send(json);

		// Executa o POST HTTP
		sendAT("AT+HTTPACTION=1\r\n", "OK");
		DEBUG_PRINT((char*) GSM_RX_Buffer);

		// Lê o cabeçalho de resposta HTTP
		sendAT("AT+HTTPHEAD\r\n", "OK");
		DEBUG_PRINT((char*) GSM_RX_Buffer);

		// Finaliza a sessão HTTP
		sendAT("AT+HTTPTERM\r\n", "OK");
	}

	return "";
}
*/
char* GSM_Send_HTTP_POST(char *json) {
	uint8_t httpINITisOK = 0;

    sendATWithTimeOut("AT+HTTPTERM\r\n", "OK", 120000);
    sendATWithTimeOut("AT+NETOPEN?\r\n", "+NETOPEN:", 5000);
    sendATWithTimeOut("AT+NETCLOSE\r\n", "OK", 60000);
    sendATWithTimeOut("AT+CGATT?\r\n", "+CGATT: 1", 5000);
    sendATWithTimeOut("AT+CGACT?\r\n", "+CGACT:", 5000);
    sendATWithTimeOut("AT+CGPADDR=1\r\n", "+CGPADDR:", 5000);

	// Inicializa HTTP
	if (sendAT("AT+HTTPINIT\r\n", "OK")) {
		httpINITisOK = 1;
		DEBUG_PRINT("HTTP Init!\r\n");
	}
	DEBUG_PRINT(json);
	if (httpINITisOK) {
		// Define o URL para o POST
		sendAT(
				"AT+HTTPPARA=\"URL\",\"http://ec2-35-88-115-76.us-west-2.compute.amazonaws.com:8080/data/register\"\r\n",
				"OK");

		// Define o tipo de conteúdo como JSON
		sendAT("AT+HTTPPARA=\"CONTENT\",\"application/json\"\r\n", "OK");

		HAL_Delay(50);

		// Envia o conteúdo JSON
		GSM_HTTP_Send(json);

		// Executa o POST HTTP
		sendAT("AT+HTTPACTION=1\r\n", "OK");
		DEBUG_PRINT((char*) GSM_RX_Buffer);

		// Lê o cabeçalho de resposta HTTP
		sendAT("AT+HTTPHEAD\r\n", "OK");
		DEBUG_PRINT((char*) GSM_RX_Buffer);

		// Finaliza a sessão HTTP
		sendAT("AT+HTTPTERM\r\n", "OK");
	}

	return "";
}

/* HANDLE GSM */
void SENDING_ACK(char *ack_key) {
	int tryCount = 0;
	const int MAX_TRIES = 10;
	while (tryCount < MAX_TRIES) {
		DEBUG_PRINT("Enviando ACK para a chave: ");
		DEBUG_PRINT(ack_key);

		uint8_t key_length = strlen(ack_key);

		if (LoRa_transmit(&myLoRa, (uint8_t*) ack_key, key_length, 200) == 1) {
			DEBUG_PRINT("... Sucesso no envio do ACK!\r\n");
			LoRa_startReceiving(&myLoRa);
			return;
		} else {
			DEBUG_PRINT("... Falha no envio do ACK!\r\n");
			tryCount++;
		}
		HAL_Delay(100);
	}

	DEBUG_PRINT(
			"Falha ao enviar o ACK após várias tentativas. Desistindo.\r\n");
	LoRa_startReceiving(&myLoRa);
}

void HAL_GPIO_EXTI_Callback(uint16_t GPIO_Pin) {
	if (GPIO_Pin == DIO_Pin) {
		uint8_t size = LoRa_receive(&myLoRa, rxBuffer, sizeof(rxBuffer));
		if (started >= 1 && size > 0) {
			char t = 0;
			if (size == sizeof(Transmission_VibrationPackage) && rxBuffer[0] == 'P')
				t = 'P';
			else if (size == sizeof(Transmission_Data) && rxBuffer[0] == 'D')
				t = 'D';

			if (t != 0) {
				uint8_t next = (uint8_t) ((lora_ring_head + 1) % LORA_RING_SIZE);
				if (next != lora_ring_tail) { /* cheio: descarta (ARQ recupera) */
					memcpy((void*) lora_ring[lora_ring_head].rxBuffer, rxBuffer, size);
					lora_ring[lora_ring_head].type = t;
					lora_ring_head = next;
				}
			}
		}
	}
}

void BlinkLed(void) {
	HAL_GPIO_WritePin(DEBUG_LED_GPIO_Port, DEBUG_LED_Pin, GPIO_PIN_SET);
	led_on_timestamp = HAL_GetTick();
	led_is_on = 1;
}

/* USER CODE END 4 */

void Error_Handler(void)
{
  /* USER CODE BEGIN Error_Handler_Debug */
	/* User can add his own implementation to report the HAL error return state */
	__disable_irq();
	NVIC_SystemReset();
	while (1) {
	}
  /* USER CODE END Error_Handler_Debug */
}
